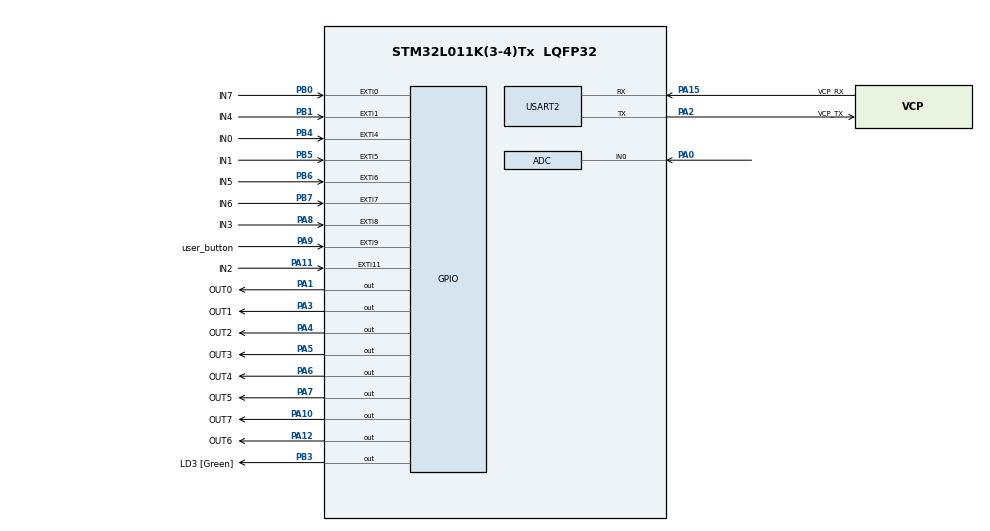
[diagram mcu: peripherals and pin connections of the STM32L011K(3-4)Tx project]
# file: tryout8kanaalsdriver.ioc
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Mcu.Family=STM32L0
Mcu.Name=STM32L011K(3-4)Tx
Mcu.Package=LQFP32
NVIC.ADC1_COMP_IRQn=true\:0\:0\:false\:false\:true\:true\:true
NVIC.EXTI0_1_IRQn=true\:0\:0\:false\:false\:true\:true\:true
NVIC.EXTI4_15_IRQn=true\:0\:0\:false\:false\:true\:true\:true
NVIC.TIM2_IRQn=true\:0\:0\:false\:false\:true\:true\:true
PA0-CK_IN.Mode=IN0
PA0-CK_IN.Signal=ADC_IN0
PA1.GPIO_Label=OUT0
PA1.Signal=GPIO_Output
PA10.GPIO_Label=OUT7
PA10.Signal=GPIO_Output
PA11.GPIO_Label=IN2
PA11.Signal=GPXTI11
PA12.GPIO_Label=OUT6
PA12.Signal=GPIO_Output
PA13.GPIO_Label=TMS
PA13.Mode=Serial_Wire
PA13.Signal=SYS_SWDIO
PA14.GPIO_Label=TCK
PA14.Mode=Serial_Wire
PA14.Signal=SYS_SWCLK
PA15.GPIO_Label=VCP_RX
PA15.Mode=Asynchronous
PA15.Signal=USART2_RX
PA2.GPIO_Label=VCP_TX
PA2.Mode=Asynchronous
PA2.Signal=USART2_TX
PA3.GPIO_Label=OUT1
PA3.Signal=GPIO_Output
PA4.GPIO_Label=OUT2
PA4.Signal=GPIO_Output
PA5.GPIO_Label=OUT3
PA5.Signal=GPIO_Output
PA6.GPIO_Label=OUT4
PA6.Signal=GPIO_Output
PA7.GPIO_Label=OUT5
PA7.Signal=GPIO_Output
PA8.GPIO_Label=IN3
PA8.Signal=GPXTI8
PA9.GPIO_Label=user_button
PA9.GPIO_ModeDefaultEXTI=GPIO_MODE_IT_FALLING
PA9.GPIO_PuPd=GPIO_PULLUP
PA9.Signal=GPXTI9
PB0.GPIO_Label=IN7
PB0.Signal=GPXTI0
PB1.GPIO_Label=IN4
PB1.Signal=GPXTI1
PB3.GPIO_Label=LD3 [Green]
PB3.Signal=GPIO_Output
PB4.GPIO_Label=IN0
PB4.GPIO_ModeDefaultEXTI=GPIO_MODE_IT_RISING_FALLING
PB4.Signal=GPXTI4
PB5.GPIO_Label=IN1
PB5.Signal=GPXTI5
PB6.GPIO_Label=IN5
PB6.Signal=GPXTI6
PB7.GPIO_Label=IN6
PB7.Signal=GPXTI7
PC14-OSC32_IN.Mode=LSE-External-Oscillator
PC14-OSC32_IN.Signal=RCC_OSC32_IN
PC15-OSC32_OUT.Mode=LSE-External-Oscillator
PC15-OSC32_OUT.Signal=RCC_OSC32_OUT
ProjectManager.HeapSize=0x200
ProjectManager.StackSize=0x400
ProjectManager.TargetToolchain=STM32CubeIDE
RCC.AHBFreq_Value=16000000
RCC.APB1CLKDivider=RCC_HCLK_DIV8
RCC.APB1Freq_Value=2000000
RCC.APB1TimFreq_Value=4000000
RCC.APB2CLKDivider=RCC_HCLK_DIV8
RCC.APB2Freq_Value=2000000
RCC.APB2TimFreq_Value=4000000
RCC.HCLKFreq_Value=16000000
RCC.HSE_VALUE=8000000
RCC.HSI16_VALUE=16000000
RCC.HSI48_VALUE=48000000
RCC.HSI_VALUE=16000000
RCC.MSI_VALUE=2097000
RCC.PLLMUL=RCC_PLLMUL_4
RCC.RCC_MCODiv=RCC_MCODIV_16
RCC.SYSCLKFreq_VALUE=16000000
RCC.SYSCLKSource=RCC_SYSCLKSOURCE_HSI
RCC.VCOOutputFreq_Value=64000000
TIM2.AutoReloadPreload=TIM_AUTORELOAD_PRELOAD_DISABLE
TIM2.Channel-Output\ Compare1\ No\ Output=TIM_CHANNEL_1
TIM2.Channel-Output\ Compare2\ No\ Output=TIM_CHANNEL_2
TIM2.Channel-Output\ Compare3\ No\ Output=TIM_CHANNEL_3
TIM2.Channel-Output\ Compare4\ No\ Output=TIM_CHANNEL_4
TIM2.OC1Preload=DISABLE
TIM2.OCMode_1=TIM_OCMODE_TIMING
TIM2.Prescaler=0
TIM2.TIM_MasterOutputTrigger=TIM_TRGO_RESET
USART2.VirtualMode-Asynchronous=VM_ASYNC
VP_TIM2_VS_ClockSourceINT.Mode=Internal
VP_TIM2_VS_no_output1.Mode=Output Compare1 No Output
VP_TIM2_VS_no_output2.Mode=Output Compare2 No Output
VP_TIM2_VS_no_output3.Mode=Output Compare3 No Output
VP_TIM2_VS_no_output4.Mode=Output Compare4 No Output
board=NUCLEO-L011K4

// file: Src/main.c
/* USER CODE BEGIN Header */
/**
  ******************************************************************************
  * @file           : main.c
  * @brief          : Main program body
  ******************************************************************************
  * @attention
  *
  * <h2><center>&copy; Copyright (c) 2020 STMicroelectronics.
  * All rights reserved.</center></h2>
  *
  * This software component is licensed by ST under BSD 3-Clause license,
  * the "License"; You may not use this file except in compliance with the
  * License. You may obtain a copy of the License at:
  *                        opensource.org/licenses/BSD-3-Clause
  *
  ******************************************************************************
  * THis application reads 8 edge triggered digital inputs.
  * This is done in the ExtI_IN0_IN4_Callback() interrupt function
  *
  * These inputs are then used to Set/Reset (PWM) a corresponding output.
  * THe
  * The PWM  with setable duty cycle is done to lower/ average the output voltage.
  * The duty cycle level for the PWM is derived from an analog input. Set by an potentiometer.
  * THe PWM + Duty cycle is generated by TIM2 running in normal timer mode.
  * Each TIM2 Channel is responsible for signal of 2 outputs.
  * The output ommpare register is used to set dutycylce period
  * Each time the TIM2 counter reaches the CC output value the outputs are set or reset
  * and the CC register is reloaded with new value.
  * The High level the of 4channels thuse 8 outputs is spread in time to average/lower the peakcurrent.

  */
/* USER CODE END Header */
#include "main.h"

/* USER CODE BEGIN PTD */
typedef enum
{
  INACTIVE = 0,
  ACTIVE = !INACTIVE
} IOStatus;
/* USER CODE END PTD */

/* USER CODE BEGIN PV */
/*Variable used to define CH input status*/
uint32_t IN0Status = ACTIVE;
uint32_t IN1Status = INACTIVE;
uint32_t IN2Status = INACTIVE;
uint32_t IN3Status = INACTIVE;
uint32_t IN4Status = INACTIVE;
uint32_t IN5Status = INACTIVE;
uint32_t IN6Status = INACTIVE;
uint32_t IN7Status = INACTIVE;

/*Variables used in callback loop to define output signal*/
uint32_t TIM2CH1_EventCycle = 0;
uint32_t TIM2CH2_EventCycle = 0;
uint32_t TIM2CH3_EventCycle = 0;
uint32_t TIM2CH4_EventCycle = 0;

/*Variables used in callback loop to define output signal*/

uint32_t ReloadCounter = 65535;
uint32_t OffsetCount = 100; //define count offset
uint32_t DutyCycleCount = 40000; 	// define dutycycle of output

uint32_t CH1RiseCount = 0;
uint32_t CH1FallCount = 0;
uint32_t CH1DiffCount = 0;
uint32_t CH2RiseCount = 0;
uint32_t CH2FallCount = 0;
uint32_t CH3RiseCount = 0;
uint32_t CH3FallCount = 0;
uint32_t CH4RiseCount = 0;
uint32_t CH4FallCount = 0;
/*Variables are initialized in TIM2CountValues_init function*/

/* USER CODE END PV */

void SystemClock_Config(void);
static void MX_GPIO_Init(void);
static void MX_ADC_Init(void);
static void MX_USART2_UART_Init(void);
static void MX_TIM2_Init(void);
/* USER CODE BEGIN PFP */
static void TIM2CountValues_init(void);
static void TIM2StartRunning(void);
static void MCO_ConfigGPIO(void);

/* USER CODE END PFP */

int main(void)
{

  /* MCU Configuration--------------------------------------------------------*/

  /* Reset of all peripherals, Initializes the Flash interface and the Systick. */

  LL_APB2_GRP1_EnableClock(LL_APB2_GRP1_PERIPH_SYSCFG);
  LL_APB1_GRP1_EnableClock(LL_APB1_GRP1_PERIPH_PWR);

  /* System interrupt init*/

  /* Configure the system clock */
  SystemClock_Config();

  /* USER CODE BEGIN SysInit */
  TIM2CountValues_init();
  /* USER CODE END SysInit */

  /* Initialize all configured peripherals */
  MX_GPIO_Init();
  MX_ADC_Init();
  MX_USART2_UART_Init();
  MX_TIM2_Init();
  /* USER CODE BEGIN 2 */

  TIM2StartRunning();
  /* USER CODE END 2 */

  /* Infinite loop */
  while (1)
  {

  }
}

void SystemClock_Config(void)
{
  LL_FLASH_SetLatency(LL_FLASH_LATENCY_0);
  while(LL_FLASH_GetLatency()!= LL_FLASH_LATENCY_0)
  {
  }
  LL_PWR_SetRegulVoltageScaling(LL_PWR_REGU_VOLTAGE_SCALE1);
  LL_RCC_HSI_Enable();

   /* Wait till HSI is ready */
  while(LL_RCC_HSI_IsReady() != 1)
  {

  }
  LL_RCC_HSI_SetCalibTrimming(16);
  LL_RCC_SetAHBPrescaler(LL_RCC_SYSCLK_DIV_1);
  LL_RCC_SetAPB1Prescaler(LL_RCC_APB1_DIV_8);
  LL_RCC_SetAPB2Prescaler(LL_RCC_APB2_DIV_8);
  LL_RCC_SetSysClkSource(LL_RCC_SYS_CLKSOURCE_HSI);

   /* Wait till System clock is ready */
  while(LL_RCC_GetSysClkSource() != LL_RCC_SYS_CLKSOURCE_STATUS_HSI)
  {

  }

  LL_Init1msTick(16000000);

  LL_SetSystemCoreClock(16000000);
  LL_RCC_SetUSARTClockSource(LL_RCC_USART2_CLKSOURCE_PCLK1);
}

static void MX_ADC_Init(void)
{

  LL_ADC_REG_InitTypeDef ADC_REG_InitStruct = {0};
  LL_ADC_InitTypeDef ADC_InitStruct = {0};

  LL_GPIO_InitTypeDef GPIO_InitStruct = {0};

  /* Peripheral clock enable */
  LL_APB2_GRP1_EnableClock(LL_APB2_GRP1_PERIPH_ADC1);

  LL_IOP_GRP1_EnableClock(LL_IOP_GRP1_PERIPH_GPIOA);
  /**ADC GPIO Configuration
  PA0-CK_IN   ------> ADC_IN0
  */
  GPIO_InitStruct.Pin = LL_GPIO_PIN_0;
  GPIO_InitStruct.Mode = LL_GPIO_MODE_ANALOG;
  GPIO_InitStruct.Pull = LL_GPIO_PULL_NO;
  LL_GPIO_Init(GPIOA, &GPIO_InitStruct);

  /* ADC interrupt Init */
  NVIC_SetPriority(ADC1_COMP_IRQn, 0);
  NVIC_EnableIRQ(ADC1_COMP_IRQn);

  /** Configure Regular Channel
  */
  LL_ADC_REG_SetSequencerChAdd(ADC1, LL_ADC_CHANNEL_0);
  /** Common config
  */
  ADC_REG_InitStruct.TriggerSource = LL_ADC_REG_TRIG_SOFTWARE;
  ADC_REG_InitStruct.SequencerDiscont = LL_ADC_REG_SEQ_DISCONT_DISABLE;
  ADC_REG_InitStruct.ContinuousMode = LL_ADC_REG_CONV_SINGLE;
  ADC_REG_InitStruct.DMATransfer = LL_ADC_REG_DMA_TRANSFER_NONE;
  ADC_REG_InitStruct.Overrun = LL_ADC_REG_OVR_DATA_PRESERVED;
  LL_ADC_REG_Init(ADC1, &ADC_REG_InitStruct);
  LL_ADC_SetSamplingTimeCommonChannels(ADC1, LL_ADC_SAMPLINGTIME_1CYCLE_5);
  LL_ADC_SetOverSamplingScope(ADC1, LL_ADC_OVS_DISABLE);
  LL_ADC_REG_SetSequencerScanDirection(ADC1, LL_ADC_REG_SEQ_SCAN_DIR_FORWARD);
  LL_ADC_SetCommonFrequencyMode(__LL_ADC_COMMON_INSTANCE(ADC1), LL_ADC_CLOCK_FREQ_MODE_LOW);
  LL_ADC_DisableIT_EOC(ADC1);
  LL_ADC_DisableIT_EOS(ADC1);

   /* Enable ADC internal voltage regulator */
   LL_ADC_EnableInternalRegulator(ADC1);
   /* Delay for ADC internal voltage regulator stabilization. */
   /* Compute number of CPU cycles to wait for, from delay in us. */
   /* Note: Variable divided by 2 to compensate partially */
   /* CPU processing cycles (depends on compilation optimization). */
   /* Note: If system core clock frequency is below 200kHz, wait time */
   /* is only a few CPU processing cycles. */
   uint32_t wait_loop_index;
   wait_loop_index = ((LL_ADC_DELAY_INTERNAL_REGUL_STAB_US * (SystemCoreClock / (100000 * 2))) / 10);
   while(wait_loop_index != 0)
     {
   wait_loop_index--;
     }
  ADC_InitStruct.Clock = LL_ADC_CLOCK_SYNC_PCLK_DIV2;
  ADC_InitStruct.Resolution = LL_ADC_RESOLUTION_12B;
  ADC_InitStruct.DataAlignment = LL_ADC_DATA_ALIGN_RIGHT;
  ADC_InitStruct.LowPowerMode = LL_ADC_LP_MODE_NONE;
  LL_ADC_Init(ADC1, &ADC_InitStruct);

}

static void MX_TIM2_Init(void)
{

  LL_TIM_InitTypeDef TIM_InitStruct = {0};
  LL_TIM_OC_InitTypeDef TIM_OC_InitStruct = {0};

  /* Peripheral clock enable */
  LL_APB1_GRP1_EnableClock(LL_APB1_GRP1_PERIPH_TIM2);

  /* TIM2 interrupt Init */
  NVIC_SetPriority(TIM2_IRQn, 0);
  NVIC_EnableIRQ(TIM2_IRQn);

  TIM_InitStruct.Prescaler = 0;
  TIM_InitStruct.CounterMode = LL_TIM_COUNTERMODE_UP;
  TIM_InitStruct.Autoreload = 65535;
  TIM_InitStruct.ClockDivision = LL_TIM_CLOCKDIVISION_DIV1;
  LL_TIM_Init(TIM2, &TIM_InitStruct);
  LL_TIM_DisableARRPreload(TIM2);
  LL_TIM_SetClockSource(TIM2, LL_TIM_CLOCKSOURCE_INTERNAL);
  TIM_OC_InitStruct.OCMode = LL_TIM_OCMODE_FROZEN;
  TIM_OC_InitStruct.OCState = LL_TIM_OCSTATE_DISABLE;
  TIM_OC_InitStruct.CompareValue = 0;
  TIM_OC_InitStruct.OCPolarity = LL_TIM_OCPOLARITY_HIGH;
  LL_TIM_OC_Init(TIM2, LL_TIM_CHANNEL_CH1, &TIM_OC_InitStruct);
  LL_TIM_OC_DisableFast(TIM2, LL_TIM_CHANNEL_CH1);
  TIM_OC_InitStruct.OCState = LL_TIM_OCSTATE_DISABLE;
  LL_TIM_OC_Init(TIM2, LL_TIM_CHANNEL_CH2, &TIM_OC_InitStruct);
  LL_TIM_OC_DisableFast(TIM2, LL_TIM_CHANNEL_CH2);
  TIM_OC_InitStruct.OCState = LL_TIM_OCSTATE_DISABLE;
  LL_TIM_OC_Init(TIM2, LL_TIM_CHANNEL_CH3, &TIM_OC_InitStruct);
  LL_TIM_OC_DisableFast(TIM2, LL_TIM_CHANNEL_CH3);
  TIM_OC_InitStruct.OCState = LL_TIM_OCSTATE_DISABLE;
  LL_TIM_OC_Init(TIM2, LL_TIM_CHANNEL_CH4, &TIM_OC_InitStruct);
  LL_TIM_OC_DisableFast(TIM2, LL_TIM_CHANNEL_CH4);
  LL_TIM_SetTriggerOutput(TIM2, LL_TIM_TRGO_RESET);
  LL_TIM_DisableMasterSlaveMode(TIM2);
  /* USER CODE BEGIN TIM2_Init 2 */
  /**************************/

  /* USER CODE END TIM2_Init 2 */

}

static void MX_USART2_UART_Init(void)
{

  LL_USART_InitTypeDef USART_InitStruct = {0};

  LL_GPIO_InitTypeDef GPIO_InitStruct = {0};

  /* Peripheral clock enable */
  LL_APB1_GRP1_EnableClock(LL_APB1_GRP1_PERIPH_USART2);

  LL_IOP_GRP1_EnableClock(LL_IOP_GRP1_PERIPH_GPIOA);
  /**USART2 GPIO Configuration
  PA2   ------> USART2_TX
  PA15   ------> USART2_RX
  */
  GPIO_InitStruct.Pin = VCP_TX_Pin;
  GPIO_InitStruct.Mode = LL_GPIO_MODE_ALTERNATE;
  GPIO_InitStruct.Speed = LL_GPIO_SPEED_FREQ_VERY_HIGH;
  GPIO_InitStruct.OutputType = LL_GPIO_OUTPUT_PUSHPULL;
  GPIO_InitStruct.Pull = LL_GPIO_PULL_NO;
  GPIO_InitStruct.Alternate = LL_GPIO_AF_4;
  LL_GPIO_Init(VCP_TX_GPIO_Port, &GPIO_InitStruct);

  GPIO_InitStruct.Pin = VCP_RX_Pin;
  GPIO_InitStruct.Mode = LL_GPIO_MODE_ALTERNATE;
  GPIO_InitStruct.Speed = LL_GPIO_SPEED_FREQ_VERY_HIGH;
  GPIO_InitStruct.OutputType = LL_GPIO_OUTPUT_PUSHPULL;
  GPIO_InitStruct.Pull = LL_GPIO_PULL_NO;
  GPIO_InitStruct.Alternate = LL_GPIO_AF_4;
  LL_GPIO_Init(VCP_RX_GPIO_Port, &GPIO_InitStruct);

  USART_InitStruct.BaudRate = 115200;
  USART_InitStruct.DataWidth = LL_USART_DATAWIDTH_8B;
  USART_InitStruct.StopBits = LL_USART_STOPBITS_1;
  USART_InitStruct.Parity = LL_USART_PARITY_NONE;
  USART_InitStruct.TransferDirection = LL_USART_DIRECTION_TX_RX;
  USART_InitStruct.HardwareFlowControl = LL_USART_HWCONTROL_NONE;
  USART_InitStruct.OverSampling = LL_USART_OVERSAMPLING_16;
  LL_USART_Init(USART2, &USART_InitStruct);
  LL_USART_ConfigAsyncMode(USART2);
  LL_USART_Enable(USART2);

}

static void MX_GPIO_Init(void)
{
  LL_EXTI_InitTypeDef EXTI_InitStruct = {0};
  LL_GPIO_InitTypeDef GPIO_InitStruct = {0};

  /* GPIO Ports Clock Enable */
  LL_IOP_GRP1_EnableClock(LL_IOP_GRP1_PERIPH_GPIOC);
  LL_IOP_GRP1_EnableClock(LL_IOP_GRP1_PERIPH_GPIOA);
  LL_IOP_GRP1_EnableClock(LL_IOP_GRP1_PERIPH_GPIOB);

  /**/
  LL_GPIO_ResetOutputPin(OUT0_GPIO_Port, OUT0_Pin);

  /**/
  LL_GPIO_ResetOutputPin(OUT1_GPIO_Port, OUT1_Pin);

  /**/
  LL_GPIO_ResetOutputPin(OUT2_GPIO_Port, OUT2_Pin);

  /**/
  LL_GPIO_ResetOutputPin(OUT3_GPIO_Port, OUT3_Pin);

  /**/
  LL_GPIO_ResetOutputPin(OUT4_GPIO_Port, OUT4_Pin);

  /**/
  LL_GPIO_ResetOutputPin(OUT5_GPIO_Port, OUT5_Pin);

  /**/
  LL_GPIO_ResetOutputPin(OUT7_GPIO_Port, OUT7_Pin);

  /**/
  LL_GPIO_ResetOutputPin(OUT6_GPIO_Port, OUT6_Pin);

  /**/
  LL_GPIO_ResetOutputPin(LD3_GPIO_Port, LD3_Pin);

  /**/
  GPIO_InitStruct.Pin = OUT0_Pin;
  GPIO_InitStruct.Mode = LL_GPIO_MODE_OUTPUT;
  GPIO_InitStruct.Speed = LL_GPIO_SPEED_FREQ_LOW;
  GPIO_InitStruct.OutputType = LL_GPIO_OUTPUT_PUSHPULL;
  GPIO_InitStruct.Pull = LL_GPIO_PULL_NO;
  LL_GPIO_Init(OUT0_GPIO_Port, &GPIO_InitStruct);

  /**/
  GPIO_InitStruct.Pin = OUT1_Pin;
  GPIO_InitStruct.Mode = LL_GPIO_MODE_OUTPUT;
  GPIO_InitStruct.Speed = LL_GPIO_SPEED_FREQ_LOW;
  GPIO_InitStruct.OutputType = LL_GPIO_OUTPUT_PUSHPULL;
  GPIO_InitStruct.Pull = LL_GPIO_PULL_NO;
  LL_GPIO_Init(OUT1_GPIO_Port, &GPIO_InitStruct);

  /**/
  GPIO_InitStruct.Pin = OUT2_Pin;
  GPIO_InitStruct.Mode = LL_GPIO_MODE_OUTPUT;
  GPIO_InitStruct.Speed = LL_GPIO_SPEED_FREQ_LOW;
  GPIO_InitStruct.OutputType = LL_GPIO_OUTPUT_PUSHPULL;
  GPIO_InitStruct.Pull = LL_GPIO_PULL_NO;
  LL_GPIO_Init(OUT2_GPIO_Port, &GPIO_InitStruct);

  /**/
  GPIO_InitStruct.Pin = OUT3_Pin;
  GPIO_InitStruct.Mode = LL_GPIO_MODE_OUTPUT;
  GPIO_InitStruct.Speed = LL_GPIO_SPEED_FREQ_LOW;
  GPIO_InitStruct.OutputType = LL_GPIO_OUTPUT_PUSHPULL;
  GPIO_InitStruct.Pull = LL_GPIO_PULL_NO;
  LL_GPIO_Init(OUT3_GPIO_Port, &GPIO_InitStruct);

  /**/
  GPIO_InitStruct.Pin = OUT4_Pin;
  GPIO_InitStruct.Mode = LL_GPIO_MODE_OUTPUT;
  GPIO_InitStruct.Speed = LL_GPIO_SPEED_FREQ_LOW;
  GPIO_InitStruct.OutputType = LL_GPIO_OUTPUT_PUSHPULL;
  GPIO_InitStruct.Pull = LL_GPIO_PULL_NO;
  LL_GPIO_Init(OUT4_GPIO_Port, &GPIO_InitStruct);

  /**/
  GPIO_InitStruct.Pin = OUT5_Pin;
  GPIO_InitStruct.Mode = LL_GPIO_MODE_OUTPUT;
  GPIO_InitStruct.Speed = LL_GPIO_SPEED_FREQ_LOW;
  GPIO_InitStruct.OutputType = LL_GPIO_OUTPUT_PUSHPULL;
  GPIO_InitStruct.Pull = LL_GPIO_PULL_NO;
  LL_GPIO_Init(OUT5_GPIO_Port, &GPIO_InitStruct);

  /**/
  GPIO_InitStruct.Pin = OUT7_Pin;
  GPIO_InitStruct.Mode = LL_GPIO_MODE_OUTPUT;
  GPIO_InitStruct.Speed = LL_GPIO_SPEED_FREQ_LOW;
  GPIO_InitStruct.OutputType = LL_GPIO_OUTPUT_PUSHPULL;
  GPIO_InitStruct.Pull = LL_GPIO_PULL_NO;
  LL_GPIO_Init(OUT7_GPIO_Port, &GPIO_InitStruct);

  /**/
  GPIO_InitStruct.Pin = OUT6_Pin;
  GPIO_InitStruct.Mode = LL_GPIO_MODE_OUTPUT;
  GPIO_InitStruct.Speed = LL_GPIO_SPEED_FREQ_LOW;
  GPIO_InitStruct.OutputType = LL_GPIO_OUTPUT_PUSHPULL;
  GPIO_InitStruct.Pull = LL_GPIO_PULL_NO;
  LL_GPIO_Init(OUT6_GPIO_Port, &GPIO_InitStruct);

  /**/
  GPIO_InitStruct.Pin = LD3_Pin;
  GPIO_InitStruct.Mode = LL_GPIO_MODE_OUTPUT;
  GPIO_InitStruct.Speed = LL_GPIO_SPEED_FREQ_LOW;
  GPIO_InitStruct.OutputType = LL_GPIO_OUTPUT_PUSHPULL;
  GPIO_InitStruct.Pull = LL_GPIO_PULL_NO;
  LL_GPIO_Init(LD3_GPIO_Port, &GPIO_InitStruct);

  /**/
  LL_SYSCFG_SetEXTISource(LL_SYSCFG_EXTI_PORTB, LL_SYSCFG_EXTI_LINE0);

  /**/
  LL_SYSCFG_SetEXTISource(LL_SYSCFG_EXTI_PORTB, LL_SYSCFG_EXTI_LINE1);

  /**/
  LL_SYSCFG_SetEXTISource(LL_SYSCFG_EXTI_PORTA, LL_SYSCFG_EXTI_LINE8);

  /**/
  LL_SYSCFG_SetEXTISource(LL_SYSCFG_EXTI_PORTA, LL_SYSCFG_EXTI_LINE9);

  /**/
  LL_SYSCFG_SetEXTISource(LL_SYSCFG_EXTI_PORTA, LL_SYSCFG_EXTI_LINE11);

  /**/
  LL_SYSCFG_SetEXTISource(LL_SYSCFG_EXTI_PORTB, LL_SYSCFG_EXTI_LINE4);

  /**/
  LL_SYSCFG_SetEXTISource(LL_SYSCFG_EXTI_PORTB, LL_SYSCFG_EXTI_LINE5);

  /**/
  LL_SYSCFG_SetEXTISource(LL_SYSCFG_EXTI_PORTB, LL_SYSCFG_EXTI_LINE6);

  /**/
  LL_SYSCFG_SetEXTISource(LL_SYSCFG_EXTI_PORTB, LL_SYSCFG_EXTI_LINE7);

  /**/
  LL_GPIO_SetPinPull(IN7_GPIO_Port, IN7_Pin, LL_GPIO_PULL_NO);

  /**/
  LL_GPIO_SetPinPull(IN4_GPIO_Port, IN4_Pin, LL_GPIO_PULL_NO);

  /**/
  LL_GPIO_SetPinPull(IN3_GPIO_Port, IN3_Pin, LL_GPIO_PULL_NO);

  /**/
  LL_GPIO_SetPinPull(user_button_GPIO_Port, user_button_Pin, LL_GPIO_PULL_UP);

  /**/
  LL_GPIO_SetPinPull(IN2_GPIO_Port, IN2_Pin, LL_GPIO_PULL_NO);

  /**/
  LL_GPIO_SetPinPull(IN0_GPIO_Port, IN0_Pin, LL_GPIO_PULL_NO);

  /**/
  LL_GPIO_SetPinPull(IN1_GPIO_Port, IN1_Pin, LL_GPIO_PULL_NO);

  /**/
  LL_GPIO_SetPinPull(IN5_GPIO_Port, IN5_Pin, LL_GPIO_PULL_NO);

  /**/
  LL_GPIO_SetPinPull(IN6_GPIO_Port, IN6_Pin, LL_GPIO_PULL_NO);

  /**/
  LL_GPIO_SetPinMode(IN7_GPIO_Port, IN7_Pin, LL_GPIO_MODE_INPUT);

  /**/
  LL_GPIO_SetPinMode(IN4_GPIO_Port, IN4_Pin, LL_GPIO_MODE_INPUT);

  /**/
  LL_GPIO_SetPinMode(IN3_GPIO_Port, IN3_Pin, LL_GPIO_MODE_INPUT);

  /**/
  LL_GPIO_SetPinMode(user_button_GPIO_Port, user_button_Pin, LL_GPIO_MODE_INPUT);

  /**/
  LL_GPIO_SetPinMode(IN2_GPIO_Port, IN2_Pin, LL_GPIO_MODE_INPUT);

  /**/
  LL_GPIO_SetPinMode(IN0_GPIO_Port, IN0_Pin, LL_GPIO_MODE_INPUT);

  /**/
  LL_GPIO_SetPinMode(IN1_GPIO_Port, IN1_Pin, LL_GPIO_MODE_INPUT);

  /**/
  LL_GPIO_SetPinMode(IN5_GPIO_Port, IN5_Pin, LL_GPIO_MODE_INPUT);

  /**/
  LL_GPIO_SetPinMode(IN6_GPIO_Port, IN6_Pin, LL_GPIO_MODE_INPUT);

  /**/
  EXTI_InitStruct.Line_0_31 = LL_EXTI_LINE_0;
  EXTI_InitStruct.LineCommand = ENABLE;
  EXTI_InitStruct.Mode = LL_EXTI_MODE_IT;
  EXTI_InitStruct.Trigger = LL_EXTI_TRIGGER_RISING;
  LL_EXTI_Init(&EXTI_InitStruct);

  /**/
  EXTI_InitStruct.Line_0_31 = LL_EXTI_LINE_1;
  EXTI_InitStruct.LineCommand = ENABLE;
  EXTI_InitStruct.Mode = LL_EXTI_MODE_IT;
  EXTI_InitStruct.Trigger = LL_EXTI_TRIGGER_RISING;
  LL_EXTI_Init(&EXTI_InitStruct);

  /**/
  EXTI_InitStruct.Line_0_31 = LL_EXTI_LINE_8;
  EXTI_InitStruct.LineCommand = ENABLE;
  EXTI_InitStruct.Mode = LL_EXTI_MODE_IT;
  EXTI_InitStruct.Trigger = LL_EXTI_TRIGGER_RISING;
  LL_EXTI_Init(&EXTI_InitStruct);

  /**/
  EXTI_InitStruct.Line_0_31 = LL_EXTI_LINE_9;
  EXTI_InitStruct.LineCommand = ENABLE;
  EXTI_InitStruct.Mode = LL_EXTI_MODE_IT;
  EXTI_InitStruct.Trigger = LL_EXTI_TRIGGER_FALLING;
  LL_EXTI_Init(&EXTI_InitStruct);

  /**/
  EXTI_InitStruct.Line_0_31 = LL_EXTI_LINE_11;
  EXTI_InitStruct.LineCommand = ENABLE;
  EXTI_InitStruct.Mode = LL_EXTI_MODE_IT;
  EXTI_InitStruct.Trigger = LL_EXTI_TRIGGER_RISING;
  LL_EXTI_Init(&EXTI_InitStruct);

  /**/
  EXTI_InitStruct.Line_0_31 = LL_EXTI_LINE_4;
  EXTI_InitStruct.LineCommand = ENABLE;
  EXTI_InitStruct.Mode = LL_EXTI_MODE_IT;
  EXTI_InitStruct.Trigger = LL_EXTI_TRIGGER_RISING_FALLING;
  LL_EXTI_Init(&EXTI_InitStruct);

  /**/
  EXTI_InitStruct.Line_0_31 = LL_EXTI_LINE_5;
  EXTI_InitStruct.LineCommand = ENABLE;
  EXTI_InitStruct.Mode = LL_EXTI_MODE_IT;
  EXTI_InitStruct.Trigger = LL_EXTI_TRIGGER_RISING;
  LL_EXTI_Init(&EXTI_InitStruct);

  /**/
  EXTI_InitStruct.Line_0_31 = LL_EXTI_LINE_6;
  EXTI_InitStruct.LineCommand = ENABLE;
  EXTI_InitStruct.Mode = LL_EXTI_MODE_IT;
  EXTI_InitStruct.Trigger = LL_EXTI_TRIGGER_RISING;
  LL_EXTI_Init(&EXTI_InitStruct);

  /**/
  EXTI_InitStruct.Line_0_31 = LL_EXTI_LINE_7;
  EXTI_InitStruct.LineCommand = ENABLE;
  EXTI_InitStruct.Mode = LL_EXTI_MODE_IT;
  EXTI_InitStruct.Trigger = LL_EXTI_TRIGGER_RISING;
  LL_EXTI_Init(&EXTI_InitStruct);

  /* EXTI interrupt init*/
  NVIC_SetPriority(EXTI0_1_IRQn, 0);
  NVIC_EnableIRQ(EXTI0_1_IRQn);
  NVIC_SetPriority(EXTI4_15_IRQn, 0);
  NVIC_EnableIRQ(EXTI4_15_IRQn);

}

/* USER CODE BEGIN 4 */
/**
  * @brief  This function is executed in case of change of duty cycle values
  * @Dutycycle is measured at with voltage at ADC CH0  3V3 = 100%
  *   * @retval None
  */

/**
  * @brief Define PWM period and duty Cylce of CH1 to CH4 signals
  * Define Start of rising and falling edge of for TIM2 channels
  * Duty cycle is measured via ADC
  * All channels have the same PWM and Duty cycle. But the PWM between the the channels is shifted in time
  * This is done to avoid all channels are ON at the same time.
  * thus keep the peak of the common current as low as possible.
  *   * @retval None
  */

void TIM2CountValues_init(void)
{
	CH1RiseCount = OffsetCount % ReloadCounter;  // by taking modulus our counter values stay below Reload counter value
	CH1FallCount = (CH1RiseCount + DutyCycleCount) % ReloadCounter;

	CH2RiseCount = (CH1FallCount + OffsetCount) % ReloadCounter;
	CH2FallCount = (CH2RiseCount + DutyCycleCount) % ReloadCounter;

	CH3RiseCount = (CH2FallCount + OffsetCount) % ReloadCounter;
	CH3FallCount = (CH3RiseCount + DutyCycleCount) % ReloadCounter;

	CH4RiseCount = (CH3FallCount + OffsetCount) % ReloadCounter;
	CH4FallCount = (CH4RiseCount + DutyCycleCount) % ReloadCounter;
}
void TIM2StartRunning(void)
{
 /*Done in the EXtI_INx_INxCallback function */
 /*********************************************************************/
 /*Set CH1 first Rising edge to correct value*/
 //LL_TIM_OC_SetCompareCH1(TIM2,CH1RiseCount);

 /* TIM2 interrupts set-up */
 /**************************/
 /* Enable the capture/compare interrupt for channel 1*/
 //LL_TIM_EnableIT_CC1(TIM2);
 /*********************************************************************/
 /* Enable counter */
 LL_TIM_EnableCounter(TIM2);
 }

/**
  * @brief TIM2 CC Interrupt routine , activated when match between counter of TIM2 with CC register CH1.
  *
  * TIM2 is an up counter.
  * The counter counts till it matches the value in the auto reload register set in the TIM2 init routine
  * after the match the counter resets to 0. (no interrupts are generated)
  *
  * This interrupt routine generates the PWM / Dutycycle signal of output CH0 and CH4
  * The PWM signal is broken up in different Event Cycles.
  * In this case 2 event cycles during the whole TIM2 count.
  * Each event cycle defines the number of clock counts the signal needs to be high or low
  * One event cycles defines the high period of the PWM signal
  * One event cycle defines the low period of the PWM signal
  * The high periode is counted in number of TIM2 clock cycles and calculated in the TIM2CountValues-Init
  * The low periode is counted in number of TIM2  clock cycles and calculated in the TIM2CountValues-Init

  * Whether the TIM2 CCx counts and whether an output pin is set depends on the variable INxStatus
  * This INxStatus is set in the EXTI_IN0_IN4_callback routine
  * @retval None
  */

void TIM2CaptureCompareCH1_Callback(void)
{
	//Test signal
	LL_GPIO_TogglePin(LD3_GPIO_Port,LD3_Pin); //channel A on Scope

    if (TIM2CH1_EventCycle == 0)
    {
    	/*Set CH1 OC value to next matching value = CH1FallCount*/
    	LL_TIM_OC_SetCompareCH1(TIM2,CH1FallCount);

  	    /* Set Output Active High */
  	    if (IN0Status==ACTIVE) { LL_GPIO_SetOutputPin(OUT0_GPIO_Port,OUT0_Pin);}
  	    if (IN4Status==ACTIVE) { LL_GPIO_SetOutputPin(OUT4_GPIO_Port,OUT4_Pin);}
  	    TIM2CH1_EventCycle++;

    }
    else if (TIM2CH1_EventCycle >= 1)
	{
    	/*Set CH1 OC value to next matching value = CH1RiseCount*/
    	LL_TIM_OC_SetCompareCH1(TIM2,CH1RiseCount);

    	/* Set Output Active Low */
    	LL_GPIO_ResetOutputPin(OUT0_GPIO_Port,OUT0_Pin);
    	LL_GPIO_ResetOutputPin(OUT4_GPIO_Port,OUT4_Pin);
    	TIM2CH1_EventCycle = 0;
    }
}

void TIM2CaptureCompareCH2_Callback(void)
{
}

void TIM2CaptureCompareCH3_Callback(void)
{
}

void TIM2CaptureCompareCH4_Callback(void)
{
}

/**
  * @brief  Interrupt routine when edge is detected at input 1 or 4
  * To the inputs a toggle button is connected. when button is toggled,
  * function checks input level for high or low
  * depending the status the corresponding output is activated or deactivated.
  * activation is done by setting variable INxStatus
  * This INxStatus is used by the TIM2  to see if the corresponding output should be PWMm'd or not
  * @retval None
  */

void ExtI_IN0_IN4_Callback(void)
{
	/*In case of rising edge IN0 or IN4 Status is ACTIVE else */
	/*In case of falling edge IN0 or IN4 Status is INACTIVE*/
	IN0Status = LL_GPIO_IsInputPinSet(IN0_GPIO_Port, IN0_Pin); /*Read level of input pin0 into IN0Status variable*/
	IN4Status = LL_GPIO_IsInputPinSet(IN4_GPIO_Port, IN4_Pin); /*Read level of input pin4 into IN4Status variable*/

	if ((IN0Status == ACTIVE) || (IN4Status == ACTIVE)) /*True in case INO or I4 is High*/
	{
		if (LL_TIM_IsEnabledIT_CC1(TIM2)==0)  		/*In case channel 1 CC register of TIM2 not enabled.*/
		{											/*occurs when both outputs where previous OFF or LOW*/

			LL_TIM_OC_SetCompareCH1(TIM2,CH1RiseCount); /*Set CH1 first Rising edge to correct value*/
			/*Enable interrupt CC*/
			LL_TIM_EnableIT_CC1(TIM2);				/* Enable the capture/compare interrupt for channel 1*/
			/*start CH1 of TIM2*/
			LL_TIM_EnableIT_CC1(TIM2);				/*enable CC1 timer2*/
		}
	}
	/*When both inputs are LOW the TIM2 CH1 can stop counting*/
	if ((IN0Status == INACTIVE) && (IN4Status == INACTIVE))
	{
		LL_TIM_DisableIT_CC1(TIM2);			/*disable CC1 timer2*/
	}
}
void ExtI_IN1_IN5_Callback(void)
{
	/*In case of rising edge IN1 or IN5 -> IN Status is ACTIVE else */
	/*In case of falling edge IN1 or IN5 -> IN Status is INACTIVE*/
	IN1Status = LL_GPIO_IsInputPinSet(IN0_GPIO_Port, IN1_Pin); /*Read level of input pin into INStatus variable*/
	IN5Status = LL_GPIO_IsInputPinSet(IN4_GPIO_Port, IN5_Pin); /*Read level of input pin into INtatus variable*/

	if ((IN1Status == ACTIVE) || (IN5Status == ACTIVE)) /*True in case IN1 or IN5 is High*/
	{
		if (LL_TIM_IsEnabledIT_CC2(TIM2)==0)  		/*In case channel 2 CC register of TIM2 not enabled.*/
		{											/*occurs when both outputs where previous OFF or LOW */
			LL_TIM_OC_SetCompareCH2(TIM2,CH2RiseCount); /*Set CH1 first Rising edge to correct value*/
			/*Enable interrupt CC*/
			LL_TIM_EnableIT_CC2(TIM2);				/* Enable the capture/compare interrupt for channel 1*/
			/*start CH1 of TIM2*/
			LL_TIM_EnableIT_CC2(TIM2);				/*enable CC1 timer2*/
		}
	}
	/*When both inputs are LOW the TIM2 Channel can stop counting*/
	if ((IN1Status == INACTIVE) && (IN5Status == INACTIVE))
	{
		LL_TIM_DisableIT_CC2(TIM2);			/*disable CC counting timer2*/
	}
}
void ExtI_IN2_IN6_Callback(void)
{
	/*In case of rising edge IN2 or IN6 -> IN Status is ACTIVE else */
	/*In case of falling edge IN2 or IN6 -> IN Status is INACTIVE*/
	IN2Status = LL_GPIO_IsInputPinSet(IN0_GPIO_Port, IN2_Pin); /*Read level of input pin into INStatus variable*/
	IN6Status = LL_GPIO_IsInputPinSet(IN4_GPIO_Port, IN6_Pin); /*Read level of input pin into INtatus variable*/

	if ((IN2Status == ACTIVE) || (IN6Status == ACTIVE)) /*True in case IN1 or IN5 is High*/
	{
		if (LL_TIM_IsEnabledIT_CC3(TIM2)==0)  		/*In case channel 2 CC register of TIM2 not enabled.*/
		{											/*occurs when both outputs where previous OFF or LOW */
			LL_TIM_OC_SetCompareCH3(TIM2,CH3RiseCount); /*Set CH1 first Rising edge to correct value*/
			/*Enable interrupt CC*/
			LL_TIM_EnableIT_CC3(TIM2);				/* Enable the capture/compare interrupt for channel 1*/
			/*start CH1 of TIM2*/
			LL_TIM_EnableIT_CC3(TIM2);				/*enable CC1 timer2*/
		}
	}
	/*When both inputs are LOW the TIM2 Channel can stop counting*/
	if ((IN2Status == INACTIVE) && (IN6Status == INACTIVE))
	{
		LL_TIM_DisableIT_CC3(TIM2);			/*disable CC counting timer2*/
	}
}
void ExtI_IN3_IN7_Callback(void)
{
	/*In case of rising edge IN2 or IN6 -> IN Status is ACTIVE else */
	/*In case of falling edge IN2 or IN6 -> IN Status is INACTIVE*/
	IN3Status = LL_GPIO_IsInputPinSet(IN3_GPIO_Port, IN3_Pin); /*Read level of input pin into INStatus variable*/
	IN7Status = LL_GPIO_IsInputPinSet(IN7_GPIO_Port, IN7_Pin); /*Read level of input pin into INtatus variable*/

	if ((IN3Status == ACTIVE) || (IN7Status == ACTIVE)) /*True in case IN1 or IN5 is High*/
	{
		if (LL_TIM_IsEnabledIT_CC4(TIM2)==0)  		/*In case channel 2 CC register of TIM2 not enabled.*/
		{											/*occurs when both outputs where previous OFF or LOW */
			LL_TIM_OC_SetCompareCH4(TIM2,CH4RiseCount); /*Set CH1 first Rising edge to correct value*/
			/*Enable interrupt CC*/
			LL_TIM_EnableIT_CC4(TIM2);				/* Enable the capture/compare interrupt for channel 1*/
			/*start CH1 of TIM2*/
			LL_TIM_EnableIT_CC4(TIM2);				/*enable CC1 timer2*/
		}
	}
	/*When both inputs are LOW the TIM2 Channel can stop counting*/
	if ((IN3Status == INACTIVE) && (IN7Status == INACTIVE))
	{
		LL_TIM_DisableIT_CC4(TIM2);			/*disable CC counting timer2*/
	}
}
/**
      * @brief  Configure MCO pin (PA8).
      * @param  None
      * @retval None
      */
void MCO_ConfigGPIO(void)
{
/* Configue the MCO pin in alternate function mode */
     LL_GPIO_SetPinMode(GPIOA, LL_GPIO_PIN_8, LL_GPIO_MODE_ALTERNATE);
     LL_GPIO_SetPinOutputType(GPIOA, LL_GPIO_PIN_8, LL_GPIO_OUTPUT_PUSHPULL);
     LL_GPIO_SetPinSpeed(GPIOA, LL_GPIO_PIN_8, LL_GPIO_SPEED_FREQ_HIGH);
     LL_GPIO_SetPinPull(GPIOA, LL_GPIO_PIN_8, LL_GPIO_PULL_NO);
     LL_GPIO_SetAFPin_8_15(GPIOA, LL_GPIO_PIN_8, LL_GPIO_AF_0);
}

/* USER CODE END 4 */

void Error_Handler(void)
{
}

/************************ (C) COPYRIGHT STMicroelectronics *****END OF FILE****/
